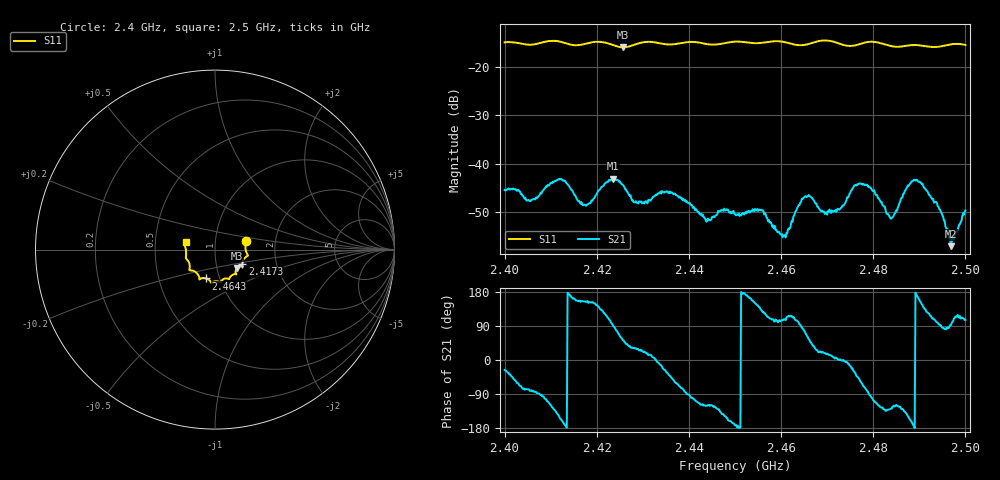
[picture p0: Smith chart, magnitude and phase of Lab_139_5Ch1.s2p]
# Hz S RI R 50
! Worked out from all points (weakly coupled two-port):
!   601 points, 2.4 GHz to 2.5 GHz, reference 50 ohm
!   highest |S21| = -43.14 dB at 2.4235 GHz (marker M1); lowest = -57.1 dB at 2.4968 GHz (marker M2)
!   lowest |S11| = -15.9 dB at 2.4257 GHz (marker M3), VSWR 1.38, Z = 62.4 - j13.1 ohm
!   |S11| at or under -10 dB: start of sweep to end of sweep
!   S12 and S22 are empty: the file has one direction only
!   S11 on the Smith chart (normalised r, x): 2.4 GHz: 1.41, +0.14; 2.4173 GHz: 1.34, -0.23; 2.4643 GHz: 0.86, -0.28; 2.5 GHz: 0.72, +0.06
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2.4e9  0.1734 0.0494  0.00477 -0.00236  0 0  0 0
2.405833e9  0.17 0.00292  0.00073 -0.00415  0 0  0 0
2.412e9  0.1798 -0.0364  -0.00624 -0.00305  0 0  0 0
2.416667e9  0.1529 -0.0747  -0.00363 0.00169  0 0  0 0
2.417333e9  0.1523 -0.0822  -0.00338 0.00162  0 0  0 0
2.4235e9  0.1407 -0.0934  -0.000188 0.00697  0 0  0 0
2.425667e9  0.1224 -0.1024  0.00369 0.00475  0 0  0 0
2.4285e9  0.1152 -0.1278  0.0035 0.0021  0 0  0 0
2.433333e9  0.1129 -0.1365  0.00483 -0.000583  0 0  0 0
2.444167e9  0.0615 -0.1604  -0.00131 -0.00236  0 0  0 0
2.45e9  0.0298 -0.1808  -0.00297 -0.000395  0 0  0 0
2.455667e9  -0.00416 -0.1775  -0.00224 0.00246  0 0  0 0
2.4605e9  -0.0242 -0.1806  -0.000528 0.0017  0 0  0 0
2.464333e9  -0.0501 -0.1604  3.41e-05 0.00401  0 0  0 0
2.466667e9  -0.076 -0.1599  0.00328 0.00299  0 0  0 0
2.471667e9  -0.0873 -0.1588  0.00319 0.000207  0 0  0 0
2.4775e9  -0.1311 -0.1161  0.00295 -0.00543  0 0  0 0
2.483333e9  -0.1407 -0.0896  -0.00192 -0.00222  0 0  0 0
2.4895e9  -0.1626 -0.0438  -0.00669 0.00123  0 0  0 0
2.494e9  -0.1617 -0.00137  -0.000517 0.00358  0 0  0 0
2.496833e9  -0.1698 0.0251  -4.43e-05 0.00139  0 0  0 0
2.5e9  -0.1639 0.0419  -0.000878 0.00315  0 0  0 0
